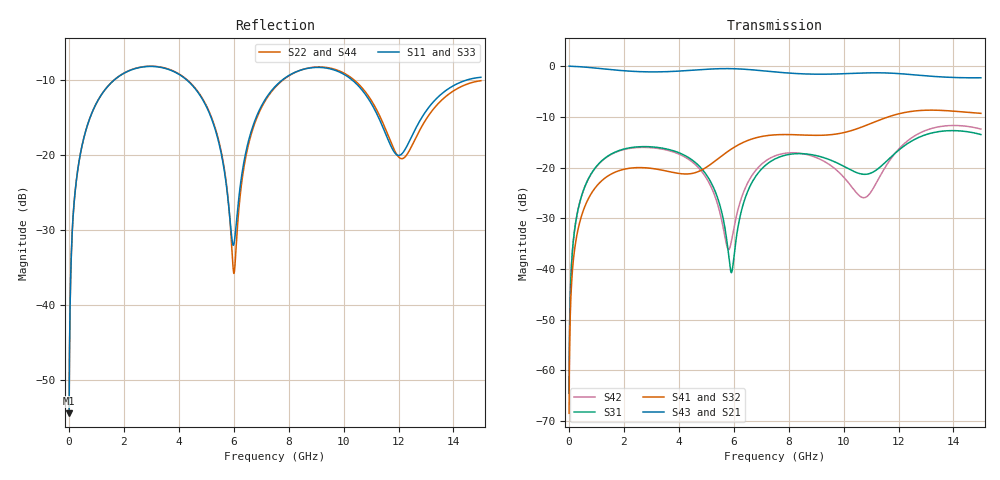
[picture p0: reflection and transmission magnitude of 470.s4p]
! Created with skrf 1.8.0 (http://scikit-rf.org).
# GHz S RI R 50.0
!freq ReS11 ImS11 ReS12 ImS12 ReS13 ImS13
! ReS14 ImS14
! ReS21 ImS21 ReS22 ImS22 ReS23 ImS23
! ReS24 ImS24
! ReS31 ImS31 ReS32 ImS32 ReS33 ImS33
! ReS34 ImS34
! ReS41 ImS41 ReS42 ImS42 ReS43 ImS43
! ReS44 ImS44
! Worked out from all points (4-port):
!   2499 points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, 5 MHz to 15 GHz, reference 50 ohm
!   strongest paths, dB at 5 MHz, 3.476 GHz, 7.19 GHz, 11.1 GHz, 15 GHz:
!     S43: 0.0, -1.1, -1.0, -1.3, -2.3
!     S21: 0.0, -1.1, -1.0, -1.3, -2.3
!     S41: -68.5, -20.6, -13.7, -11.1, -9.3
!     S32: -68.5, -20.6, -13.7, -11.1, -9.4
!     S31: -64.5, -16.3, -19.4, -20.8, -13.5
!     S42: -64.5, -16.5, -18.6, -23.9, -12.4
!   lowest |S11| = -54.5 dB at 5 MHz (marker M1), VSWR 1.00, Z = 50.1 + j0.114 ohm
!   |S11| at or under -10 dB: start of sweep to 1.633 GHz; 4.305 GHz to 7.751 GHz (3.446 GHz wide, 57.2 % of centre); 10.33 GHz to 14.45 GHz (4.118 GHz wide, 33.2 % of centre)
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0.005  0.0015 0.00114  0.9985 -0.00291  7.46e-05 0.000589  -7.25e-05 -0.00037
       0.9985 -0.00291  0.0015 0.00114  -7.25e-05 -0.00037  7.45e-05 0.000589
       7.46e-05 0.000589  -7.25e-05 -0.00037  0.0015 0.00114  0.9985 -0.00291
       -7.25e-05 -0.00037  7.45e-05 0.000589  0.9985 -0.00291  0.0015 0.00114
0.3126303  0.0206 0.0754  0.972 -0.1819  0.00938 0.0353  -0.00772 -0.022
           0.972 -0.1819  0.0206 0.0754  -0.00772 -0.022  0.00913 0.0354
           0.00938 0.0353  -0.00772 -0.022  0.0206 0.0754  0.972 -0.1819
           -0.00772 -0.022  0.00913 0.0354  0.972 -0.1819  0.0206 0.0754
1.569404  0.2454 0.1872  0.6003 -0.6984  0.1205 0.0656  -0.0859 -0.0143
          0.6003 -0.6984  0.2466 0.1864  -0.0859 -0.0144  0.1169 0.0699
          0.1205 0.0656  -0.0859 -0.0144  0.2454 0.1871  0.6004 -0.6983
          -0.0859 -0.0143  0.1169 0.0699  0.6004 -0.6983  0.2465 0.1865
4.745727  0.1806 -0.1804  -0.6674 -0.6343  0.0445 -0.093  -0.0385 0.0836
          -0.6674 -0.6343  0.1766 -0.188  -0.0392 0.0829  0.0636 -0.0738
          0.0445 -0.093  -0.0392 0.0829  0.1797 -0.18  -0.6677 -0.6344
          -0.0385 0.0836  0.0636 -0.0738  -0.6677 -0.6344  0.176 -0.1869
6.008754  0.0251 0.00515  -0.9402 -0.0607  -0.00567 0.012  -0.00467 0.1578
          -0.9402 -0.0607  0.0162 0.000146  -0.00629 0.1577  0.0201 0.0157
          -0.00567 0.012  -0.00629 0.1577  0.0246 0.00697  -0.9402 -0.0603
          -0.00467 0.1578  0.0201 0.0157  -0.9402 -0.0603  0.0164 0.00198
9.303877  0.3828 -0.025  0.0139 0.8329  0.0772 -0.0976  0.2036 -0.0448
          0.0139 0.8329  0.3864 -0.0238  0.2037 -0.0415  0.0798 -0.0822
          0.0772 -0.0976  0.2037 -0.0415  0.3853 -0.0248  0.0127 0.832
          0.2036 -0.0448  0.0798 -0.0822  0.0127 0.832  0.3883 -0.0231
15  0.3311 -0.0127  0.2062 -0.737  0.2032 -0.0586  -0.342 -0.00312
    0.2062 -0.737  0.3145 -0.00273  -0.3391 -0.0111  0.2215 -0.091
    0.2032 -0.0586  -0.3391 -0.0111  0.3288 -0.0168  0.2107 -0.7379
    -0.342 -0.00312  0.2215 -0.091  0.2107 -0.7379  0.3059 0.00272
